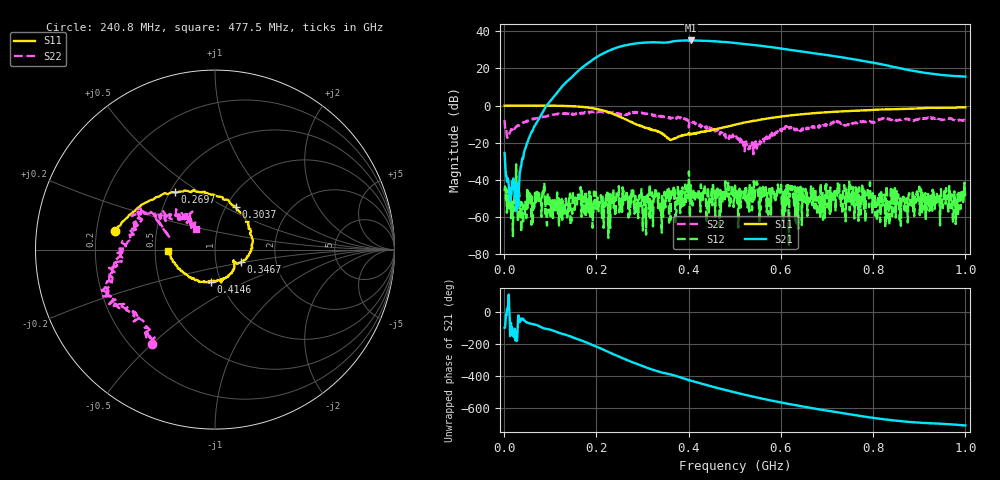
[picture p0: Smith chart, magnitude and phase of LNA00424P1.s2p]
! Created with skrf 1.9.0 (http://scikit-rf.org).
# Hz S RI R 50.0
!freq ReS11 ImS11 ReS21 ImS21 ReS12 ImS12 ReS22 ImS22
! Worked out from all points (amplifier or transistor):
!   1001 points, 1 MHz to 1 GHz, reference 50 ohm
!   highest |S21| = 35.1 dB at 405.6 MHz (marker M1)
!   |S21| within 3 dB of that: 256.3 MHz to 560.4 MHz (304.1 MHz wide, 74.5 % of centre)
!   unconditionally stable (mu >= 1): 243.8 MHz to 315.7 MHz; 315.7 MHz to 400.5 MHz; 401 MHz to end of sweep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
!   at 166.8 MHz: K = 0.84, MSG = 34.0 dB, |S12| = -47.9 dB
!   at 500.5 MHz: K = 1.41, MAG = 34.6 dB, |S12| = -43.0 dB
!   at 1 GHz: K = 4.01, MAG = 23.4 dB, |S12| = -49.1 dB
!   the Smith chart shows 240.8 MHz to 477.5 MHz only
!   S11 on the Smith chart (normalised r, x): 240.8 MHz: 0.28, +0.08; 269.7 MHz: 0.53, +0.40; 303.7 MHz: 1.11, +0.57; 346.7 MHz: 1.33, -0.18; 414.6 MHz: 0.90, -0.34; 477.5 MHz: 0.58, -0.01
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1000000  0.9931 0.0105  -0.00705 -0.0527  0.00391 0.0031  0.2903 0.2859
1.08892e8  0.5288 -0.843  -0.8772 -1.592  0.00102 -0.00126  0.4158 -0.3843
1.67833e8  -0.2229 -0.9004  -10.3 -0.2888  0.000641 0.000799  0.014 -0.648
2.08792e8  -0.6506 -0.4089  -15.7 17.18  0.00251 -0.00131  -0.2333 -0.6328
2.4076e8  -0.5582 0.1018  -0.7325 35.25  0.000683 -0.000813  -0.3485 -0.5261
2.69731e8  -0.2252 0.3197  24.76 35.94  0.000689 -0.000691  -0.5029 -0.3256
3.03697e8  0.1178 0.2387  47.25 14.79  -0.00239 0.00326  -0.5976 -0.1765
3.34666e8  0.203 -0.00343  49.13 -11.27  -0.00335 0.00161  -0.5142 -0.0113
3.46654e8  0.1465 -0.067  46.12 -18.2  1.75e-05 -0.00164  -0.4992 0.0337
3.72628e8  0.1076 -0.0815  42.15 -35.57  0.00114 0.000603  -0.4382 0.1884
4.05595e8  0.0195 -0.1723  19.44 -53.37  0.00225 0.00176  -0.3155 0.1964
4.14586e8  -0.0221 -0.1808  12.12 -55.15  0.00223 0.00257  -0.2749 0.159
4.45555e8  -0.1613 -0.1363  -11.82 -53.4  0.00307 -0.000703  -0.1623 0.203
4.77523e8  -0.2624 -0.00521  -30.86 -41.43  0.00326 0.00206  -0.1057 0.1139
5.005e8  -0.2863 0.1175  -39.26 -29.16  0.00236 0.00666  -0.0929 0.1044
5.39461e8  -0.2229 0.3221  -42.45 -7.909  0.000993 0.00258  -0.0943 -0.021
5.83417e8  -0.0462 0.4735  -35.26 10.77  0.0034 -0.00304  -0.1593 -0.0732
6.25375e8  0.1469 0.534  -23.63 19.95  0.000515 -0.00611  -0.2152 -0.093
6.67333e8  0.342 0.5178  -12.36 22.86  -0.000617 -0.00399  -0.2723 -0.0314
7.53247e8  0.6311 0.3531  3.798 17.68  0.000558 -0.00192  -0.31 0.0516
8.34166e8  0.7828 0.1246  8.311 8.329  0.000143 -0.00122  -0.4154 0.1301
1e9  0.8025 -0.4071  5.968 1.043  -0.00294 -0.00194  -0.151 0.3779
